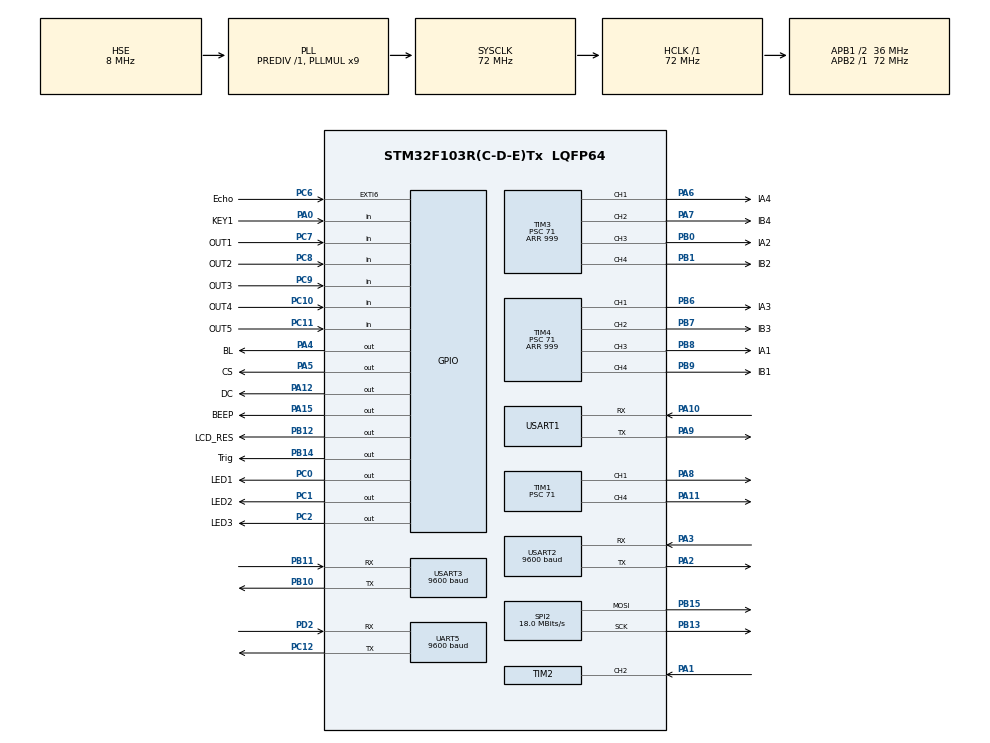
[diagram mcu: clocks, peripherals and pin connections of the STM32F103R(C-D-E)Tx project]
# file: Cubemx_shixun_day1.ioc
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Mcu.Family=STM32F1
Mcu.Name=STM32F103R(C-D-E)Tx
Mcu.Package=LQFP64
NVIC.EXTI9_5_IRQn=true\:0\:0\:false\:false\:true\:true\:true\:true
NVIC.PriorityGroup=NVIC_PRIORITYGROUP_4
NVIC.TIM2_IRQn=true\:0\:0\:false\:false\:true\:true\:true\:true
NVIC.TIM6_IRQn=true\:0\:0\:false\:false\:true\:true\:true\:true
NVIC.UART5_IRQn=true\:0\:0\:false\:false\:true\:true\:true\:true
NVIC.USART1_IRQn=true\:0\:0\:false\:false\:true\:true\:true\:true
NVIC.USART2_IRQn=true\:0\:0\:false\:false\:true\:true\:true\:true
NVIC.USART3_IRQn=true\:0\:0\:false\:false\:true\:true\:true\:true
PA0-WKUP.GPIO_Label=KEY1
PA0-WKUP.GPIO_PuPd=GPIO_NOPULL
PA0-WKUP.Signal=GPIO_Input
PA1.Signal=S_TIM2_CH2
PA10.Mode=Asynchronous
PA10.Signal=USART1_RX
PA11.Signal=S_TIM1_CH4
PA12.GPIO_Label=DC
PA12.GPIO_Speed=GPIO_SPEED_FREQ_HIGH
PA12.PinState=GPIO_PIN_SET
PA12.Signal=GPIO_Output
PA15.GPIO_Label=BEEP
PA15.Signal=GPIO_Output
PA2.Mode=Asynchronous
PA2.Signal=USART2_TX
PA3.Mode=Asynchronous
PA3.Signal=USART2_RX
PA4.GPIO_Label=BL
PA4.GPIO_Speed=GPIO_SPEED_FREQ_HIGH
PA4.PinState=GPIO_PIN_SET
PA4.Signal=GPIO_Output
PA5.GPIO_Label=CS
PA5.GPIO_Speed=GPIO_SPEED_FREQ_HIGH
PA5.PinState=GPIO_PIN_SET
PA5.Signal=GPIO_Output
PA6.GPIO_Label=IA4
PA6.Signal=S_TIM3_CH1
PA7.GPIO_Label=IB4
PA7.Signal=S_TIM3_CH2
PA8.Signal=S_TIM1_CH1
PA9.Mode=Asynchronous
PA9.Signal=USART1_TX
PB0.GPIO_Label=IA2
PB0.Signal=S_TIM3_CH3
PB1.GPIO_Label=IB2
PB1.Signal=S_TIM3_CH4
PB10.Mode=Asynchronous
PB10.Signal=USART3_TX
PB11.Mode=Asynchronous
PB11.Signal=USART3_RX
PB12.GPIO_Label=LCD_RES
PB12.GPIO_Speed=GPIO_SPEED_FREQ_HIGH
PB12.PinState=GPIO_PIN_SET
PB12.Signal=GPIO_Output
PB13.Mode=TX_Only_Simplex_Unidirect_Master
PB13.Signal=SPI2_SCK
PB14.GPIO_Label=Trig
PB14.Signal=GPIO_Output
PB15.Mode=TX_Only_Simplex_Unidirect_Master
PB15.Signal=SPI2_MOSI
PB6.GPIO_Label=IA3
PB6.Signal=S_TIM4_CH1
PB7.GPIO_Label=IB3
PB7.Signal=S_TIM4_CH2
PB8.GPIO_Label=IA1
PB8.Signal=S_TIM4_CH3
PB9.GPIO_Label=IB1
PB9.Signal=S_TIM4_CH4
PC0.GPIO_Label=LED1
PC0.Signal=GPIO_Output
PC1.GPIO_Label=LED2
PC1.Signal=GPIO_Output
PC10.GPIO_Label=OUT4
PC10.Signal=GPIO_Input
PC11.GPIO_Label=OUT5
PC11.Signal=GPIO_Input
PC12.Mode=Asynchronous
PC12.Signal=UART5_TX
PC2.GPIO_Label=LED3
PC2.Signal=GPIO_Output
PC6.GPIO_Label=Echo
PC6.GPIO_ModeDefaultEXTI=GPIO_MODE_IT_RISING_FALLING
PC6.Signal=GPXTI6
PC7.GPIO_Label=OUT1
PC7.Signal=GPIO_Input
PC8.GPIO_Label=OUT2
PC8.Signal=GPIO_Input
PC9.GPIO_Label=OUT3
PC9.Signal=GPIO_Input
PD0-OSC_IN.Mode=HSE-External-Oscillator
PD0-OSC_IN.Signal=RCC_OSC_IN
PD1-OSC_OUT.Mode=HSE-External-Oscillator
PD1-OSC_OUT.Signal=RCC_OSC_OUT
PD2.Mode=Asynchronous
PD2.Signal=UART5_RX
ProjectManager.HeapSize=0x200
ProjectManager.StackSize=0x400
ProjectManager.TargetToolchain=MDK-ARM V5.27
RCC.AHBFreq_Value=72000000
RCC.APB1CLKDivider=RCC_HCLK_DIV2
RCC.APB1Freq_Value=36000000
RCC.APB1TimFreq_Value=72000000
RCC.APB2Freq_Value=72000000
RCC.APB2TimFreq_Value=72000000
RCC.HCLKFreq_Value=72000000
RCC.PLLMUL=RCC_PLL_MUL9
RCC.PLLSourceVirtual=RCC_PLLSOURCE_HSE
RCC.SYSCLKFreq_VALUE=72000000
RCC.SYSCLKSource=RCC_SYSCLKSOURCE_PLLCLK
RCC.USBFreq_Value=72000000
SH.S_TIM1_CH1.0=TIM1_CH1,PWM Generation1 CH1
SH.S_TIM1_CH4.0=TIM1_CH4,PWM Generation4 CH4
SH.S_TIM2_CH2.0=TIM2_CH2,Input_Capture2_from_TI2
SH.S_TIM3_CH1.0=TIM3_CH1,PWM Generation1 CH1
SH.S_TIM3_CH2.0=TIM3_CH2,PWM Generation2 CH2
SH.S_TIM3_CH3.0=TIM3_CH3,PWM Generation3 CH3
SH.S_TIM3_CH4.0=TIM3_CH4,PWM Generation4 CH4
SH.S_TIM4_CH1.0=TIM4_CH1,PWM Generation1 CH1
SH.S_TIM4_CH2.0=TIM4_CH2,PWM Generation2 CH2
SH.S_TIM4_CH3.0=TIM4_CH3,PWM Generation3 CH3
SH.S_TIM4_CH4.0=TIM4_CH4,PWM Generation4 CH4
SPI2.CalculateBaudRate=18.0 MBits/s
SPI2.Direction=SPI_DIRECTION_2LINES
SPI2.Mode=SPI_MODE_MASTER
SPI2.VirtualType=VM_MASTER
TIM1.Channel-PWM\ Generation1\ CH1=TIM_CHANNEL_1
TIM1.Channel-PWM\ Generation4\ CH4=TIM_CHANNEL_4
TIM1.Period=19999
TIM1.Prescaler=71
TIM1.Pulse-PWM\ Generation1\ CH1=499
TIM1.Pulse-PWM\ Generation4\ CH4=499
TIM2.Channel-Input_Capture2_from_TI2=TIM_CHANNEL_2
TIM2.Period=10000
TIM2.Prescaler=72-1
TIM3.Channel-PWM\ Generation1\ CH1=TIM_CHANNEL_1
TIM3.Channel-PWM\ Generation2\ CH2=TIM_CHANNEL_2
TIM3.Channel-PWM\ Generation3\ CH3=TIM_CHANNEL_3
TIM3.Channel-PWM\ Generation4\ CH4=TIM_CHANNEL_4
TIM3.Period=999
TIM3.Prescaler=71
TIM4.Channel-PWM\ Generation1\ CH1=TIM_CHANNEL_1
TIM4.Channel-PWM\ Generation2\ CH2=TIM_CHANNEL_2
TIM4.Channel-PWM\ Generation3\ CH3=TIM_CHANNEL_3
TIM4.Channel-PWM\ Generation4\ CH4=TIM_CHANNEL_4
TIM4.Period=999
TIM4.Prescaler=71
TIM4.Pulse-PWM\ Generation1\ CH1=0
TIM4.Pulse-PWM\ Generation3\ CH3=0
TIM6.Period=720-1
UART5.BaudRate=9600
UART5.VirtualMode=Asynchronous
USART1.VirtualMode=VM_ASYNC
USART2.BaudRate=9600
USART2.VirtualMode=VM_ASYNC
USART3.BaudRate=9600
USART3.VirtualMode=VM_ASYNC
VP_SYS_VS_ND.Mode=No_Debug
VP_TIM1_VS_ClockSourceINT.Mode=Internal
VP_TIM2_VS_ClockSourceINT.Mode=Internal
VP_TIM3_VS_ClockSourceINT.Mode=Internal
VP_TIM4_VS_ClockSourceINT.Mode=Internal
VP_TIM6_VS_ClockSourceINT.Mode=Enable_Timer
board=custom

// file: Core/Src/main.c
/* USER CODE BEGIN Header */
/**
  ******************************************************************************
  * @file           : main.c
  * @brief          : Main program body
  ******************************************************************************
  * @attention
  *
  * Copyright (c) 2024 STMicroelectronics.
  * All rights reserved.
  *
  * This software is licensed under terms that can be found in the LICENSE file
  * in the root directory of this software component.
  * If no LICENSE file comes with this software, it is provided AS-IS.
  *
  ******************************************************************************
  */
/* USER CODE END Header */
#include "main.h"
#include "spi.h"
#include "tim.h"
#include "usart.h"
#include "gpio.h"

/* USER CODE BEGIN Includes */
#include "stdio.h"
#include "bsp_key.h"
#include "lcd.h"
#include "motor.h"
#include "sr04.h"
#include "tcrt.h"
#include "ir.h"
#include "Bluetooth.h"
#include "steer.h"
#include "wifi.h"
/* USER CODE END Includes */

/* USER CODE BEGIN PTD */
uint16_t led1_tick = 0;
//uint16_t OaMode = 0;
//uint16_t FollowMode = 0;
uint16_t Lcd_tick = 0;
uint16_t beep_flag = 0;

uint16_t KeyMode = 0;

//uint16_t led2_tick = 0;
//uint16_t led3_tick = 0;
extern uint8_t recvbuff[10];//保存接收数据
extern uint8_t recvcnt;//接收数据计数
extern uint8_t recvover;//接收完成标志
extern const unsigned char gImage_logo[100160];
extern int16_t angle1;//上下角度
extern int16_t angle2;
extern int16_t lspeed1;
extern int16_t rspeed1;
/* USER CODE END PTD */

void SystemClock_Config(void);
/* USER CODE BEGIN PFP */
void DATA_Anylze(void);
/* USER CODE END PFP */

int main(void)
{

  /* MCU Configuration--------------------------------------------------------*/

  /* Reset of all peripherals, Initializes the Flash interface and the Systick. */
  HAL_Init();

  /* Configure the system clock */
  SystemClock_Config();

  /* Initialize all configured peripherals */
  MX_GPIO_Init();
  MX_USART1_UART_Init();
  MX_SPI2_Init();
  MX_TIM4_Init();
  MX_TIM3_Init();
  MX_TIM6_Init();
  MX_TIM2_Init();
  MX_UART5_Init();
  MX_TIM1_Init();
  MX_USART3_UART_Init();
  MX_USART2_UART_Init();
  /* USER CODE BEGIN 2 */

	BSP_Key_Init();
	LCD_Init();
	Motor_Init();
	SR04_Init();//初始化超声波
	IR_Init();//初始化遥控器
	USART5_Init();//初始化蓝牙串口
	USART2_Init();
	Steer_Init();//初始化舵机
	WIFI_Init();

	LCD_Fill(0,0,128,160,WHITE);
//	void LCD_ShowChinese12x12(u16 x,u16 y,u8 *s,u16 fc,u16 bc,u8 sizey,u8 mode);//显示单个12x12汉字
	LCD_ShowChinese(0,0,(u8 *)"河南理工大学",RED,WHITE,16,0);
	LCD_ShowChinese(0,16,(u8 *)"汪瑞博",RED,WHITE,16,0);
	LCD_ShowChinese(0,32,(u8 *)"敖栋",RED,WHITE,16,0);
	LCD_ShowChinese(0,48,(u8 *)"第十三组",RED,WHITE,16,0);
	LCD_ShowChinese(0,64,(u8 *)"超声波距离",RED,WHITE,16,0);
	LCD_ShowChinese(0,80,(u8 *)"当前模式",RED,WHITE,16,0);

	__HAL_RCC_AFIO_CLK_ENABLE();//开启复用时钟
	__HAL_AFIO_REMAP_SWJ_NOJTAG();//关闭JTAG，保留SW下载

//__HAL_UART_ENABLE_IT(&huart1,UART_IT_RXNE);//开启串口的接收中断
//__HAL_UART_ENABLE_IT(&huart1,UART_IT_IDLE);//开启串口的空闲中断,这两行和普通数据串口发送有冲突

  /* USER CODE END 2 */

  /* Infinite loop */
  /* USER CODE BEGIN WHILE */

//	uint8_t data;
char buff[50] = {0};
int8_t mode = 5;
extern const unsigned char gImage_dongtu1[20000];

  while (1)
  {
		//void LCD_ShowString(u16 x,u16 y,const u8 *p,u16 fc,u16 bc,u8 sizey,u8 mode)

		if(beep_flag != 0)
		{
			HAL_GPIO_TogglePin(BEEP_GPIO_Port,BEEP_Pin);
			HAL_Delay(20);
			beep_flag--;
		}
		switch(ir.Ir_Key)
		{
			case '>':
				mode += 1;
				if(mode > 5) mode = 5;
				break;
			case '<':
				if(mode == 0) break;
				mode -= 1;
				break;
			case '1':
				LCD_ShowChinese(64,80,(u8 *)"蓝牙模式",RED,WHITE,16,0);
				Ble_Anylze();//蓝牙分析协议
				Ble_CtrSteer();//蓝牙分析角度
				Steer_SetAngle(angle1,angle2);//蓝牙控制舵机角度
				Motor_Move(lspeed1,rspeed1);
				break;
			case '2':
				LCD_ShowChinese(64,80,(u8 *)"寻迹模式",RED,WHITE,16,0);
				XJ_Mode();
				break;
			case '3':
				LCD_ShowChinese(64,80,(u8 *)"监控模式",RED,WHITE,16,0);
				WIFI_Anylze();
				Ble_CtrSteer();//蓝牙分析角度

				Motor_Move(lspeed1,rspeed1);
				Steer_SetAngle(angle1,angle2);//蓝牙控制舵机角度
				break;
			case '4':
				LCD_ShowChinese(64,80,(u8 *)"避障模式",RED,WHITE,16,0);
				OA(Sr04_GetLength());
				break;

		}
		switch(mode)
		{
			case 0://蓝牙模式
				LCD_Fill(0,0,128,160,WHITE);
				LCD_ShowChinese(0,0,(u8 *)"蓝牙模式",RED,WHITE,16,0);
				LCD_ShowPicture(0,16,100,116,gImage_dongtu1);
				break;
			case 1://寻迹模式
				LCD_Fill(0,0,128,160,WHITE);
				break;
			case 2://视频监控模式
				LCD_Fill(0,0,128,160,WHITE);
				break;
			case 3://避障模式
				LCD_Fill(0,0,128,160,WHITE);
				break;
			case 4://动图
				LCD_Fill(0,0,128,160,WHITE);
				break;
		}

//		DATA_Anylze();
//		Ble_Anylze();//蓝牙分析协议
//		Ble_CtrSteer();//蓝牙分析角度
//		Steer_SetAngle(angle1,angle2);//蓝牙控制舵机角度
//		Motor_Move(lspeed1,rspeed1);

//		WIFI_Anylze();
		if(led1_tick > 200)
		{
			HAL_GPIO_TogglePin(LED1_GPIO_Port,LED1_Pin);
//			printf("KEY = %c\r\n",ir.Ir_Key);
			led1_tick = 0;
		}
		if(Lcd_tick > 200)
		{
			sprintf(buff,"%.2f",Sr04_GetLength());
			LCD_Fill(80,64,128,80,WHITE);
			LCD_ShowString(80,64,(u8*)buff,RED,WHITE,16,0);
			Lcd_tick =0;
		}
//		if(KeyMode == 0)
//		{
//
//			OA(Sr04_GetLength());
//
//		}
//		if(KeyMode == 1)
//		{
//			Follow(Sr04_GetLength());
//
//		}

//		printf("%.2f\r\n",Sr04_GetLength());

//		if((USART1->SR & (0x1<<5)) != 0)
//		{
//			data = USART1->DR;
//			if(data == 'A')
//			{
////				HAL_GPIO_WritePin(BEEP_GPIO_Port,BEEP_Pin,GPIO_PIN_SET);
//					__HAL_TIM_SetCompare(&htim4,TIM_CHANNEL_3,800);
//			}
//			if(data =='B')
//			{
////				HAL_GPIO_WritePin(BEEP_GPIO_Port,BEEP_Pin,GPIO_PIN_RESET);
//					__HAL_TIM_SetCompare(&htim4,TIM_CHANNEL_3,800);
//
//			}

//			if(data =='C')
//			{
//				HAL_GPIO_WritePin(LED1_GPIO_Port,LED1_Pin,GPIO_PIN_SET);
////				__HAL_TIM_SetCompare(&htim4,TIM_CHANNEL_3,800);
//			}
//			if(data =='D')
//			{
//				HAL_GPIO_WritePin(LED1_GPIO_Port,LED1_Pin,GPIO_PIN_RESET);
////				__HAL_TIM_SetCompare(&htim4,TIM_CHANNEL_3,800);
//			}
//
//
//		}

//		button_ticks();
//		HAL_Delay(5);

    /* USER CODE END WHILE */

  }
}

void SystemClock_Config(void)
{
  RCC_OscInitTypeDef RCC_OscInitStruct = {0};
  RCC_ClkInitTypeDef RCC_ClkInitStruct = {0};

  /** Initializes the RCC Oscillators according to the specified parameters
  * in the RCC_OscInitTypeDef structure.
  */
  RCC_OscInitStruct.OscillatorType = RCC_OSCILLATORTYPE_HSE;
  RCC_OscInitStruct.HSEState = RCC_HSE_ON;
  RCC_OscInitStruct.HSEPredivValue = RCC_HSE_PREDIV_DIV1;
  RCC_OscInitStruct.HSIState = RCC_HSI_ON;
  RCC_OscInitStruct.PLL.PLLState = RCC_PLL_ON;
  RCC_OscInitStruct.PLL.PLLSource = RCC_PLLSOURCE_HSE;
  RCC_OscInitStruct.PLL.PLLMUL = RCC_PLL_MUL9;
  if (HAL_RCC_OscConfig(&RCC_OscInitStruct) != HAL_OK)
  {
    Error_Handler();
  }

  /** Initializes the CPU, AHB and APB buses clocks
  */
  RCC_ClkInitStruct.ClockType = RCC_CLOCKTYPE_HCLK|RCC_CLOCKTYPE_SYSCLK
                              |RCC_CLOCKTYPE_PCLK1|RCC_CLOCKTYPE_PCLK2;
  RCC_ClkInitStruct.SYSCLKSource = RCC_SYSCLKSOURCE_PLLCLK;
  RCC_ClkInitStruct.AHBCLKDivider = RCC_SYSCLK_DIV1;
  RCC_ClkInitStruct.APB1CLKDivider = RCC_HCLK_DIV2;
  RCC_ClkInitStruct.APB2CLKDivider = RCC_HCLK_DIV1;

  if (HAL_RCC_ClockConfig(&RCC_ClkInitStruct, FLASH_LATENCY_2) != HAL_OK)
  {
    Error_Handler();
  }
}

/* USER CODE BEGIN 4 */

int fputc(int c,FILE *f)
{
	uint8_t ch;
	ch = c;
	HAL_UART_Transmit(&huart1,&ch,1,1000);
	return c;
}

void DATA_Anylze(void)
{
	if(recvover != 1) return;
	if((recvbuff[0] != 0x55) || (recvbuff[5] != 0xAA))
	{
		HAL_UART_Transmit(&huart1,(uint8_t *)"帧头帧尾出错\r\n",15,100);
		recvcnt = 0;//清除错误数据
		recvover = 0;
		memset(recvbuff,0,10);
		return;
	}
	if(recvbuff[1] == 0x01) HAL_GPIO_WritePin(LED1_GPIO_Port,LED1_Pin,GPIO_PIN_RESET);
	else if(recvbuff[1] == 0x00) HAL_GPIO_WritePin(LED1_GPIO_Port,LED1_Pin,GPIO_PIN_SET);

	if(recvbuff[2] == 0x01) HAL_GPIO_WritePin(LED2_GPIO_Port,LED2_Pin,GPIO_PIN_RESET);
	else if(recvbuff[2] == 0x00) HAL_GPIO_WritePin(LED2_GPIO_Port,LED2_Pin,GPIO_PIN_SET);

	if(recvbuff[3] == 0x01) HAL_GPIO_WritePin(LED3_GPIO_Port,LED3_Pin,GPIO_PIN_RESET);
	else if(recvbuff[3] == 0x00) HAL_GPIO_WritePin(LED3_GPIO_Port,LED3_Pin,GPIO_PIN_SET);

	if(recvbuff[4] == 0x01) HAL_GPIO_WritePin(BEEP_GPIO_Port,BEEP_Pin,GPIO_PIN_RESET);
	else if(recvbuff[4] == 0x00) HAL_GPIO_WritePin(BEEP_GPIO_Port,BEEP_Pin,GPIO_PIN_SET);
	recvcnt = 0;//清除错误数据
	recvover = 0;
	memset(recvbuff,0,10);
}

/* USER CODE END 4 */

void Error_Handler(void)
{
  __disable_irq();
  while (1)
  {
  }
}
